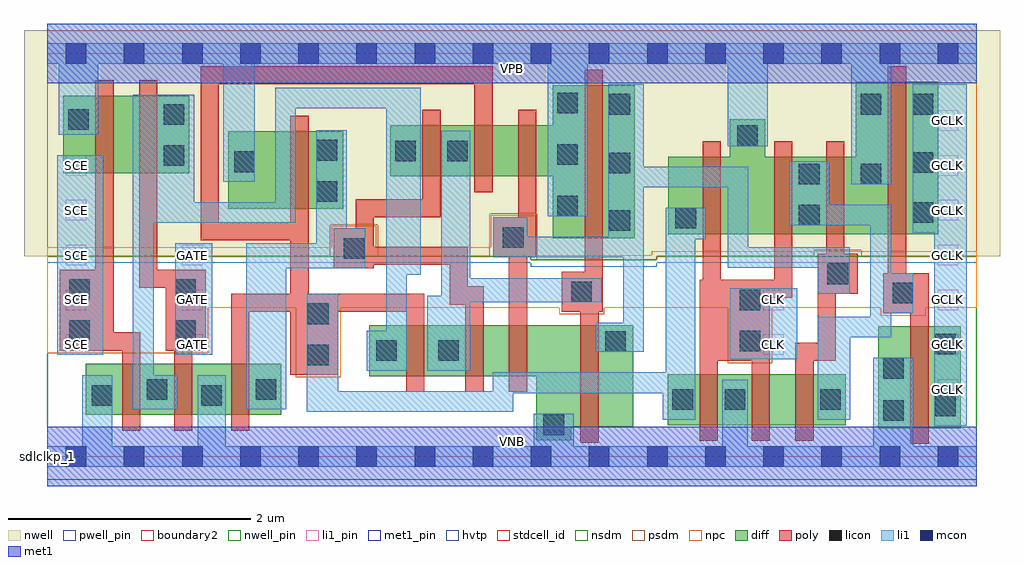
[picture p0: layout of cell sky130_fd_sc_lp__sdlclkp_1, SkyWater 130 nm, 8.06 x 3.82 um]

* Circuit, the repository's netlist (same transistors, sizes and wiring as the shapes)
* Copyright 2020 The SkyWater PDK Authors
*
* Licensed under the Apache License, Version 2.0 (the "License");
* you may not use this file except in compliance with the License.
* You may obtain a copy of the License at
*
*     https://www.apache.org/licenses/LICENSE-2.0
*
* Unless required by applicable law or agreed to in writing, software
* distributed under the License is distributed on an "AS IS" BASIS,
* WITHOUT WARRANTIES OR CONDITIONS OF ANY KIND, either express or implied.
* See the License for the specific language governing permissions and
* limitations under the License.
*
* SPDX-License-Identifier: Apache-2.0

.SUBCKT sky130_fd_sc_lp__sdlclkp_1 CLK GATE SCE VGND VNB VPB VPWR GCLK
*.PININFO CLK:I GATE:I SCE:I VGND:I VNB:I VPB:I VPWR:I GCLK:O
MI662 net88 m1 VPWR VPB sky130_fd_pr__pfet_01v8_hvt m=1 w=0.42U l=0.15U mult=1
+ sa=0.265 sb=0.265 sd=0.28 area=0.063 perim=1.14
MI664 M0 clkpos net88 VPB sky130_fd_pr__pfet_01v8_hvt m=1 w=0.42U l=0.15U mult=1
+ sa=0.265 sb=0.265 sd=0.28 area=0.063 perim=1.14
MI659 net76 CLK VPWR VPB sky130_fd_pr__pfet_01v8_hvt m=1 w=0.64U l=0.15U mult=1
+ sa=0.265 sb=0.265 sd=0.28 area=0.063 perim=1.14
MI658 net76 m1 VPWR VPB sky130_fd_pr__pfet_01v8_hvt m=1 w=0.64U l=0.15U mult=1
+ sa=0.265 sb=0.265 sd=0.28 area=0.063 perim=1.14
MI19 m1 M0 VPWR VPB sky130_fd_pr__pfet_01v8_hvt m=1 w=1.26U l=0.15U mult=1 sa=0.265
+ sb=0.265 sd=0.28 area=0.063 perim=1.14
MI22 net63 SCE VPWR VPB sky130_fd_pr__pfet_01v8_hvt m=1 w=0.64U l=0.15U mult=1
+ sa=0.265 sb=0.265 sd=0.28 area=0.063 perim=1.14
MI21 net116 GATE net63 VPB sky130_fd_pr__pfet_01v8_hvt m=1 w=0.64U l=0.15U mult=1
+ sa=0.265 sb=0.265 sd=0.28 area=0.063 perim=1.14
MI47 clkneg clkpos VPWR VPB sky130_fd_pr__pfet_01v8_hvt m=1 w=0.64U l=0.15U mult=1
+ sa=0.265 sb=0.265 sd=0.28 area=0.063 perim=1.14
MI45 clkpos CLK VPWR VPB sky130_fd_pr__pfet_01v8_hvt m=1 w=0.64U l=0.15U mult=1
+ sa=0.265 sb=0.265 sd=0.28 area=0.063 perim=1.14
MI660 GCLK net76 VPWR VPB sky130_fd_pr__pfet_01v8_hvt m=1 w=1.26U l=0.15U mult=1
+ sa=0.265 sb=0.265 sd=0.28 area=0.063 perim=1.14
MI43 net116 clkneg M0 VPB sky130_fd_pr__pfet_01v8_hvt m=1 w=0.42U l=0.15U mult=1
+ sa=0.265 sb=0.265 sd=0.28 area=0.063 perim=1.14
MI42 net116 clkpos M0 VNB sky130_fd_pr__nfet_01v8 m=1 w=0.42U l=0.15U mult=1 sa=0.265
+ sb=0.265 sd=0.28 area=0.063 perim=1.14
MI20 m1 M0 VGND VNB sky130_fd_pr__nfet_01v8 m=1 w=0.84U l=0.15U mult=1 sa=0.265
+ sb=0.265 sd=0.28 area=0.063 perim=1.14
MI655 M0 clkneg net123 VNB sky130_fd_pr__nfet_01v8 m=1 w=0.42U l=0.15U mult=1 sa=0.265
+ sb=0.265 sd=0.28 area=0.063 perim=1.14
MI654 net123 m1 VGND VNB sky130_fd_pr__nfet_01v8 m=1 w=0.42U l=0.15U mult=1 sa=0.265
+ sb=0.265 sd=0.28 area=0.063 perim=1.14
MI24 net116 SCE VGND VNB sky130_fd_pr__nfet_01v8 m=1 w=0.42U l=0.15U mult=1 sa=0.265
+ sb=0.265 sd=0.28 area=0.063 perim=1.14
MI657 net112 CLK VGND VNB sky130_fd_pr__nfet_01v8 m=1 w=0.42U l=0.15U mult=1 sa=0.265
+ sb=0.265 sd=0.28 area=0.063 perim=1.14
MI656 net76 m1 net112 VNB sky130_fd_pr__nfet_01v8 m=1 w=0.42U l=0.15U mult=1 sa=0.265
+ sb=0.265 sd=0.28 area=0.063 perim=1.14
MI23 net116 GATE VGND VNB sky130_fd_pr__nfet_01v8 m=1 w=0.42U l=0.15U mult=1 sa=0.265
+ sb=0.265 sd=0.28 area=0.063 perim=1.14
MI46 clkneg clkpos VGND VNB sky130_fd_pr__nfet_01v8 m=1 w=0.42U l=0.15U mult=1
+ sa=0.265 sb=0.265 sd=0.28 area=0.063 perim=1.14
MI44 clkpos CLK VGND VNB sky130_fd_pr__nfet_01v8 m=1 w=0.42U l=0.15U mult=1 sa=0.265
+ sb=0.265 sd=0.28 area=0.063 perim=1.14
MI653 GCLK net76 VGND VNB sky130_fd_pr__nfet_01v8 m=1 w=0.84U l=0.15U mult=1 sa=0.265
+ sb=0.265 sd=0.28 area=0.063 perim=1.14
.ENDS sky130_fd_sc_lp__sdlclkp_1

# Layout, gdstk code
import gdstk
lib = gdstk.Library(unit=1e-6, precision=1e-09)
def R(c, l, rs):  # rectangles x0, y0, x1, y1
    for r in rs: c.add(gdstk.rectangle(r[:2], r[2:], *l))
def A(c, l, x, y, w, h, nx, ny, dx, dy):  # array of equal rectangles
    R(c, l, [(x+i*dx, y+j*dy, x+i*dx+w, y+j*dy+h) for i in range(nx) for j in range(ny)])
def P(c, l, *ps):  # polygons
    for p in ps: c.add(gdstk.Polygon(p, *l))
nwell_pin = (64, 16)
nwell = (64, 20)
diff = (65, 20)
poly = (66, 20)
licon = (66, 44)
li1_pin = (67, 16)
li1 = (67, 20)
mcon = (67, 44)
met1_pin = (68, 16)
met1 = (68, 20)
hvtp = (78, 44)
stdcell_id = (81, 4)
nsdm = (93, 44)
psdm = (94, 20)
npc = (95, 20)
pwell_pin = (122, 16)
boundary2 = (236, 0)

sky130_fd_sc_lp__sdlclkp = lib.new_cell('sky130_fd_sc_lp__sdlclkp_1')
R(sky130_fd_sc_lp__sdlclkp, nwell_pin, [(0,3.085,7.68,3.33)])
P(sky130_fd_sc_lp__sdlclkp, nwell, [(7.87,3.52),(-0.19,3.52),(-0.19,1.655),(3.995,1.655),(3.995,1.625),(5.035,1.625),(5.035,1.655),(7.87,1.655)])
R(sky130_fd_sc_lp__sdlclkp, diff, [(6.865,0.235,7.545,1.075), (5.125,0.26,6.595,0.68), (0.32,0.345,1.935,0.765), (1.495,2.045,2.445,2.685), (0.135,2.34,1.175,2.98)])
P(sky130_fd_sc_lp__sdlclkp, diff, [(4.84,1.085),(2.66,1.085),(2.66,0.665),(4.04,0.665),(4.04,0.135),(4.33,0.135),(4.33,0.245),(4.84,0.245)],
  [(4.855,3.065),(4.175,3.065),(4.175,2.735),(2.835,2.735),(2.835,2.315),(4.175,2.315),(4.175,1.805),(4.855,1.805)],
  [(7.36,3.095),(6.68,3.095),(6.68,2.475),(5.93,2.475),(5.93,2.785),(5.64,2.785),(5.64,2.475),(5.13,2.475),(5.13,1.835),(7.36,1.835)])
P(sky130_fd_sc_lp__sdlclkp, poly, [(0.77,1.025),(0.55,1.025),(0.55,3.11),(0.4,3.11),(0.4,1.545),(0.105,1.545),(0.105,0.875),(0.62,0.875),(0.62,0.215),(0.77,0.215)],
  [(1.31,1.545),(0.91,1.545),(0.91,3.11),(0.76,3.11),(0.76,1.395),(0.98,1.395),(0.98,0.875),(1.05,0.875),(1.05,0.215),(1.2,0.215),(1.2,0.875),(1.31,0.875)],
  [(3.605,1.405),(3.475,1.405),(3.475,1.735),(2.7,1.735),(2.7,1.975),(3.25,1.975),(3.25,2.865),(3.1,2.865),(3.1,2.125),(2.55,2.125),(2.55,1.885),(2.37,1.885),(2.37,1.555),(2.7,1.555),(2.7,1.585),(3.325,1.585),(3.325,1.255),(3.455,1.255),(3.455,0.535),(3.605,0.535)],
  [(3.68,3.225),(1.27,3.225),(1.27,1.785),(2.01,1.785),(2.01,1.345),(1.52,1.345),(1.52,0.215),(1.67,0.215),(1.67,1.195),(2.01,1.195),(2.01,0.675),(2.405,0.675),(2.405,1.195),(2.965,1.195),(2.965,0.535),(3.115,0.535),(3.115,1.345),(2.16,1.345),(2.16,2.815),(2.01,2.815),(2.01,1.935),(1.42,1.935),(1.42,3.075),(3.53,3.075),(3.53,2.185),(3.68,2.185)],
  [(4.04,2.865),(3.89,2.865),(3.89,1.975),(3.685,1.975),(3.685,1.645),(3.815,1.645),(3.815,0.535),(3.965,0.535),(3.965,1.645),(4.04,1.645)],
  [(4.59,3.195),(4.44,3.195),(4.44,1.525),(4.25,1.525),(4.25,1.195),(4.405,1.195),(4.405,0.115),(4.555,0.115),(4.555,1.195),(4.59,1.195)],
  [(6.155,2.605),(6.005,2.605),(6.005,1.46),(5.565,1.46),(5.565,2.605),(5.415,2.605),(5.415,1.46),(5.39,1.46),(5.39,0.13),(5.54,0.13),(5.54,0.79),(5.82,0.79),(5.82,0.13),(5.97,0.13),(5.97,1.31),(6.155,1.31)],
  [(6.695,1.675),(6.585,1.675),(6.585,2.605),(6.435,2.605),(6.435,1.675),(6.365,1.675),(6.365,0.94),(6.18,0.94),(6.18,0.13),(6.33,0.13),(6.33,0.79),(6.515,0.79),(6.515,1.345),(6.695,1.345)],
  [(7.28,1.515),(7.095,1.515),(7.095,3.225),(6.945,3.225),(6.945,1.515),(6.905,1.515),(6.905,1.185),(7.13,1.185),(7.13,0.105),(7.28,0.105)])
A(sky130_fd_sc_lp__sdlclkp, licon, 4.215, 1.985, 0.17, 0.17, 1, 3, 0, 0.425)
R(sky130_fd_sc_lp__sdlclkp, licon, [(4.1,0.175,4.27,0.345), (6.905,0.295,7.075,0.465), (7.335,0.335,7.505,0.505), (5.165,0.385,5.335,0.555), (5.595,0.385,5.765,0.555), (6.385,0.385,6.555,0.555), (0.37,0.42,0.54,0.59), (1.275,0.42,1.445,0.59), (0.825,0.47,0.995,0.64), (1.725,0.47,1.895,0.64), (6.905,0.645,7.075,0.815), (2.155,0.755,2.325,0.925), (2.72,0.79,2.89,0.96), (3.23,0.79,3.4,0.96), (7.335,0.845,7.505,1.015), (4.61,0.865,4.78,1.035), (5.72,0.87,5.89,1.04), (0.185,0.955,0.355,1.125), (1.06,0.955,1.23,1.125), (2.155,1.095,2.325,1.265), (5.72,1.21,5.89,1.38), (6.985,1.265,7.155,1.435), (4.33,1.275,4.5,1.445), (0.185,1.295,0.355,1.465), (1.06,1.295,1.23,1.465), (6.445,1.425,6.615,1.595), (2.45,1.635,2.62,1.805), (3.765,1.725,3.935,1.895), (4.645,1.865,4.815,2.035), (5.19,1.885,5.36,2.055), (6.21,1.91,6.38,2.08), (7.15,1.93,7.32,2.1), (2.225,2.105,2.395,2.275), (6.21,2.25,6.38,2.42), (6.72,2.25,6.89,2.42), (4.645,2.34,4.815,2.51), (7.15,2.345,7.32,2.515), (1.545,2.35,1.715,2.52), (0.965,2.4,1.135,2.57), (2.875,2.44,3.045,2.61), (3.305,2.44,3.475,2.61), (2.225,2.445,2.395,2.615), (5.7,2.565,5.87,2.735), (0.175,2.7,0.345,2.87), (0.965,2.74,1.135,2.91), (4.645,2.825,4.815,2.995), (6.72,2.825,6.89,2.995), (7.15,2.825,7.32,2.995)])
A(sky130_fd_sc_lp__sdlclkp, li1_pin, 7.355, 0.47, 0.17, 0.17, 1, 7, 0, 0.37)
A(sky130_fd_sc_lp__sdlclkp, li1_pin, 0.155, 0.84, 0.17, 0.17, 1, 5, 0, 0.37)
A(sky130_fd_sc_lp__sdlclkp, li1_pin, 1.115, 0.84, 0.17, 0.17, 1, 3, 0, 0.37)
R(sky130_fd_sc_lp__sdlclkp, li1_pin, [(5.915,0.84,6.085,1.01), (5.915,1.21,6.085,1.38)])
R(sky130_fd_sc_lp__sdlclkp, li1, [(5.64,0.805,6.195,1.39), (0.085,0.84,0.465,2.49), (1.06,0.84,1.365,1.76)])
P(sky130_fd_sc_lp__sdlclkp, li1, [(5.62,1.56),(5.62,2.225),(4.93,2.225),(4.93,0.865),(4.53,0.865),(4.53,1.105),(4.76,1.105),(4.76,1.645),(3.685,1.645),(3.685,1.975),(3.965,1.975),(3.965,1.815),(4.635,1.815),(4.635,3.075),(4.93,3.075),(4.93,2.395),(5.79,2.395),(5.79,1.73),(6.63,1.73),(6.63,1.345),(6.365,1.345),(6.365,1.56)],
  [(0.095,2.66),(0.095,3.245),(0,3.245),(0,3.415),(7.68,3.415),(7.68,3.245),(6.97,3.245),(6.97,2.25),(6.64,2.25),(6.64,3.245),(5.95,3.245),(5.95,2.565),(5.62,2.565),(5.62,3.245),(4.465,3.245),(4.465,1.985),(4.135,1.985),(4.135,3.245),(1.715,3.245),(1.715,2.27),(1.455,2.27),(1.455,3.245),(0.425,3.245),(0.425,2.66)],
  [(1.245,0.085),(1.245,0.67),(1.475,0.67),(1.475,0.085),(4.02,0.085),(4.02,0.355),(4.35,0.355),(4.35,0.085),(5.575,0.085),(5.575,0.635),(5.785,0.635),(5.785,0.085),(6.825,0.085),(6.825,0.815),(7.155,0.815),(7.155,0.085),(7.68,0.085),(7.68,-0.085),(0,-0.085),(0,0.085),(0.29,0.085),(0.29,0.67),(0.54,0.67),(0.54,0.085)],
  [(6.8,1.155),(6.8,1.91),(6.13,1.91),(6.13,2.44),(6.46,2.44),(6.46,2.08),(6.97,2.08),(6.97,1.515),(7.155,1.515),(7.155,1.185),(6.97,1.185),(6.97,0.985),(6.635,0.985),(6.635,0.305),(6.365,0.305),(6.365,1.155)],
  [(7.15,1.85),(7.15,3.075),(7.595,3.075),(7.595,0.255),(7.325,0.255),(7.325,1.85)],
  [(3.255,1.33),(3.255,2.69),(3.495,2.69),(3.495,1.475),(4.58,1.475),(4.58,1.275),(3.495,1.275),(3.495,0.71),(3.14,0.71),(3.14,1.33)],
  [(2.475,1.885),(2.63,1.885),(2.63,1.555),(1.975,1.555),(1.975,0.39),(1.645,0.39),(1.645,1.76),(2.225,1.76),(2.225,2.695),(2.475,2.695)],
  [(3.085,3.045),(1.885,3.045),(1.885,2.1),(1.215,2.1),(1.215,2.99),(0.71,2.99),(0.71,0.39),(1.075,0.39),(1.075,0.67),(0.88,0.67),(0.88,1.93),(2.055,1.93),(2.055,2.875),(2.8,2.875),(2.8,1.04),(2.64,1.04),(2.64,0.71),(2.97,0.71),(2.97,1.5),(3.085,1.5)],
  [(5.44,2.055),(5.11,2.055),(5.11,0.695),(3.68,0.695),(3.68,0.54),(2.405,0.54),(2.405,1.345),(2.145,1.345),(2.145,0.37),(3.85,0.37),(3.85,0.525),(5.085,0.525),(5.085,0.305),(5.355,0.305),(5.355,1.795),(5.44,1.795)])
A(sky130_fd_sc_lp__sdlclkp, mcon, 0.155, -0.085, 0.17, 0.17, 16, 2, 0.48, 3.33)
R(sky130_fd_sc_lp__sdlclkp, met1_pin, [(0,0,7.68,0.245), (0,3.085,7.68,3.33)])
R(sky130_fd_sc_lp__sdlclkp, met1, [(0,-0.245,7.68,0.245), (0,3.085,7.68,3.575)])
P(sky130_fd_sc_lp__sdlclkp, hvtp, [(7.68,3.33),(0,3.33),(0,1.6),(3.995,1.6),(3.995,1.57),(5.035,1.57),(5.035,1.6),(7.68,1.6)])
R(sky130_fd_sc_lp__sdlclkp, stdcell_id, [(0,0,7.68,3.33)])
P(sky130_fd_sc_lp__sdlclkp, nsdm, [(7.68,1.655),(5.035,1.655),(5.035,1.625),(3.995,1.625),(3.995,1.655),(0,1.655),(0,-0.19),(7.68,-0.19)])
P(sky130_fd_sc_lp__sdlclkp, psdm, [(7.68,3.52),(0,3.52),(0,1.655),(2.34,1.655),(2.34,1.915),(2.73,1.915),(2.73,1.655),(3.655,1.655),(3.655,2.005),(4.045,2.005),(4.045,1.625),(5.035,1.625),(5.035,1.655),(6.335,1.655),(6.335,1.705),(6.725,1.705),(6.725,1.655),(7.68,1.655)])
P(sky130_fd_sc_lp__sdlclkp, npc, [(7.68,1.695),(4.995,1.695),(4.995,1.665),(4.035,1.665),(4.035,1.995),(3.665,1.995),(3.665,1.73),(2.72,1.73),(2.72,1.905),(2.35,1.905),(2.35,1.73),(0,1.73),(0,0.855),(1.33,0.855),(1.33,1.23),(2.055,1.23),(2.055,0.655),(2.425,0.655),(2.425,1.23),(4.23,1.23),(4.23,1.175),(4.6,1.175),(4.6,1.23),(5.62,1.23),(5.62,0.77),(5.99,0.77),(5.99,1.23),(6.885,1.23),(6.885,1.165),(7.255,1.165),(7.255,1.23),(7.68,1.23)])
R(sky130_fd_sc_lp__sdlclkp, pwell_pin, [(0,0,7.68,0.245)])
R(sky130_fd_sc_lp__sdlclkp, boundary2, [(0,0,7.68,3.33)])
sky130_fd_sc_lp__sdlclkp.add(gdstk.Label('VNB', (3.84,0.123), layer=64, texttype=59))
sky130_fd_sc_lp__sdlclkp.add(gdstk.Label('VPB', (3.84,3.208), layer=64, texttype=5))
sky130_fd_sc_lp__sdlclkp.add(gdstk.Label('sdlclkp_1', (0,0), layer=83, texttype=44))
sky130_fd_sc_lp__sdlclkp.add(gdstk.Label('VPWR', (3.84,3.208), layer=68, texttype=5))
sky130_fd_sc_lp__sdlclkp.add(gdstk.Label('VGND', (3.84,0.123), layer=68, texttype=5))
sky130_fd_sc_lp__sdlclkp.add(gdstk.Label('CLK', (6,0.925), layer=67, texttype=5))
sky130_fd_sc_lp__sdlclkp.add(gdstk.Label('CLK', (6,1.295), layer=67, texttype=5))
sky130_fd_sc_lp__sdlclkp.add(gdstk.Label('GATE', (1.2,0.925), layer=67, texttype=5))
sky130_fd_sc_lp__sdlclkp.add(gdstk.Label('GATE', (1.2,1.295), layer=67, texttype=5))
sky130_fd_sc_lp__sdlclkp.add(gdstk.Label('GATE', (1.2,1.665), layer=67, texttype=5))
sky130_fd_sc_lp__sdlclkp.add(gdstk.Label('SCE', (0.24,0.925), layer=67, texttype=5))
sky130_fd_sc_lp__sdlclkp.add(gdstk.Label('SCE', (0.24,1.295), layer=67, texttype=5))
sky130_fd_sc_lp__sdlclkp.add(gdstk.Label('SCE', (0.24,1.665), layer=67, texttype=5))
sky130_fd_sc_lp__sdlclkp.add(gdstk.Label('SCE', (0.24,2.035), layer=67, texttype=5))
sky130_fd_sc_lp__sdlclkp.add(gdstk.Label('SCE', (0.24,2.405), layer=67, texttype=5))
sky130_fd_sc_lp__sdlclkp.add(gdstk.Label('GCLK', (7.44,0.555), layer=67, texttype=5))
sky130_fd_sc_lp__sdlclkp.add(gdstk.Label('GCLK', (7.44,0.925), layer=67, texttype=5))
sky130_fd_sc_lp__sdlclkp.add(gdstk.Label('GCLK', (7.44,1.295), layer=67, texttype=5))
sky130_fd_sc_lp__sdlclkp.add(gdstk.Label('GCLK', (7.44,1.665), layer=67, texttype=5))
sky130_fd_sc_lp__sdlclkp.add(gdstk.Label('GCLK', (7.44,2.035), layer=67, texttype=5))
sky130_fd_sc_lp__sdlclkp.add(gdstk.Label('GCLK', (7.44,2.405), layer=67, texttype=5))
sky130_fd_sc_lp__sdlclkp.add(gdstk.Label('GCLK', (7.44,2.775), layer=67, texttype=5))

lib.write_gds('sky130_fd_sc_lp__sdlclkp_1.gds')
